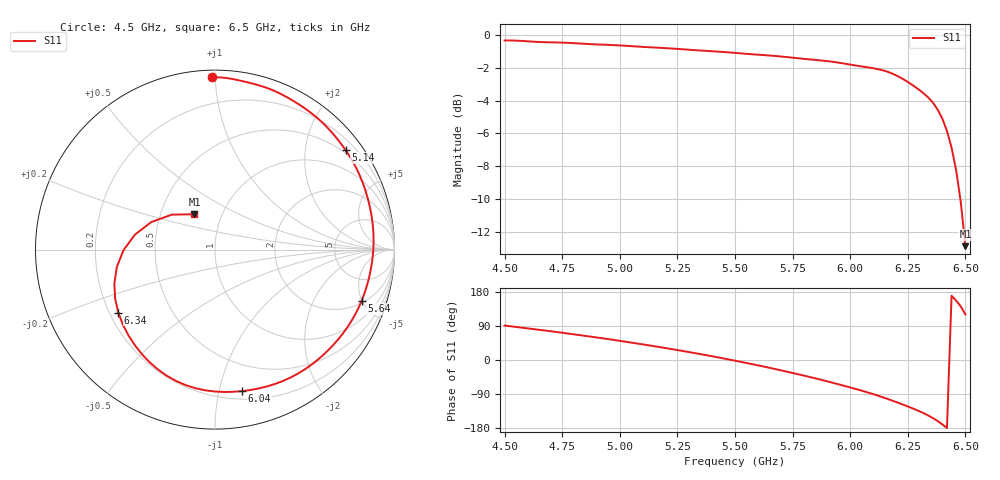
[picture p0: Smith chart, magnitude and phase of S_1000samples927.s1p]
! TOUCHSTONE file generated by CST MICROWAVE STUDIO
! Date and time: Sat Oct 29 20:08:46 2022
! Project name: L.cst
! Parameters = {Di=1.27; Epsilon_r=1.56; InnerDiameter=1.27; Length=2; Lf=10; Lg=60; OuterConductorThickness=0.2921; OuterDiameter=3.6; Wf=3; Wp=41.2; de=1.5; df=6.8; g=0.8; gx=3.62844; gy=3.16358; h=2.34; hf=1.524; px=9.53561; py=13.3786; w=9.7; wx=5.90717; wy=10.215}
! Header version: 2018
! Port assignment regex: !\s*Touchstone port\s*([0-9]+)\s*=\s*(CST MWS port|CST DS port)\s*([0-9]+|Zmin|Zmax)\s*\(\"(.*)\"\)(\s*mode\s*([0-9]+))?.*
! Touchstone port assignment:
! Touchstone port 1 = CST MWS port 1 ("")
# GHz S DB R 50
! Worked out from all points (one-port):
!   101 points, 4.5 GHz to 6.5 GHz, reference 50 ohm
!   lowest |S11| = -12.8 dB at 6.5 GHz (marker M1), VSWR 1.59, Z = 37 + j15.4 ohm
!   |S11| at or under -10 dB: 6.478268 GHz to end of sweep
!   S11 on the Smith chart (normalised r, x): 4.5 GHz: 0.04, +0.98; 5.14 GHz: 0.43, +2.90; 5.64 GHz: 2.17, -4.95; 6.04 GHz: 0.26, -1.17; 6.34 GHz: 0.24, -0.28; 6.5 GHz: 0.74, +0.31
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4.5  -0.35 91.0
4.6  -0.41 83.4
4.76  -0.49 71.1
4.88  -0.58 61.1
5  -0.66 50.5
5.14  -0.77 37.3
5.26  -0.88 25.1
5.38  -0.99 12.2
5.5  -1.11 -1.8
5.64  -1.26 -19.3
5.76  -1.41 -35.7
5.84  -1.52 -47.1
5.9  -1.61 -56.3
6  -1.82 -72.5
6.04  -1.91 -79.2
6.1  -2.04 -90.1
6.16  -2.24 -102.3
6.2  -2.47 -111.0
6.26  -2.97 -125.0
6.3  -3.36 -135.1
6.34  -3.83 -146.9
6.38  -4.56 -161.3
6.4  -5.10 -169.9
6.42  -5.84 -179.6
6.44  -6.86 169.4
6.46  -8.25 156.7
6.48  -10.17 141.2
6.5  -12.84 120.2
